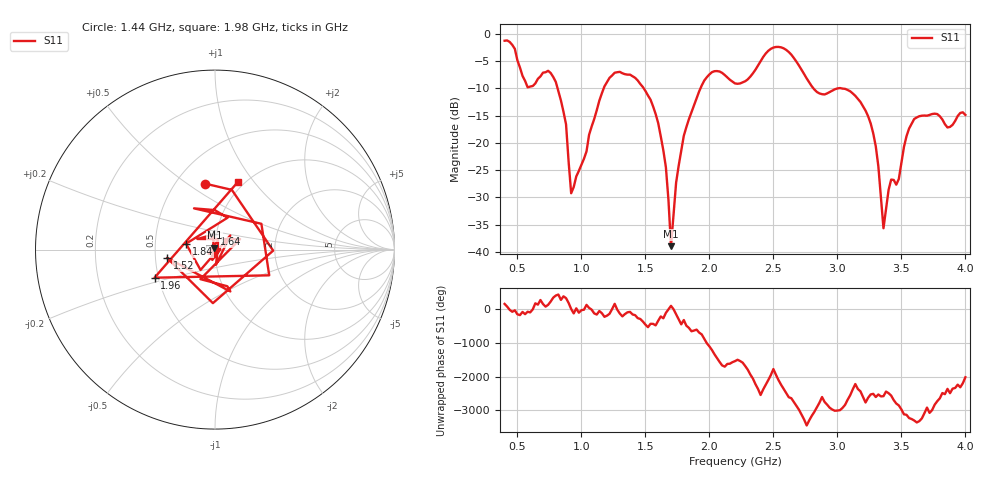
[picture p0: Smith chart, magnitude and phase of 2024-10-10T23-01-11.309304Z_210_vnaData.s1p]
! Created with skrf (http://scikit-rf.org).
# Hz S RI R 50.0
!freq ReS11 ImS11
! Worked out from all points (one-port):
!   181 points, 400 MHz to 4 GHz, reference 50 ohm
!   lowest |S11| = -38.9 dB at 1.7 GHz (marker M1), VSWR 1.02, Z = 49.7 + j1.09 ohm
!   |S11| at or under -10 dB: 813.2 MHz to 1.175 GHz (361.5 MHz wide, 36.4 % of centre); 1.486 GHz to 1.931 GHz (444.8 MHz wide, 26 % of centre); 3.025 GHz to end of sweep (the widest 3 of 4)
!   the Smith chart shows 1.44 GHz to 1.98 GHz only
!   S11 on the Smith chart (normalised r, x): 1.44 GHz: 0.69, +0.59; 1.52 GHz: 0.58, -0.06; 1.64 GHz: 0.97, +0.17; 1.84 GHz: 0.72, +0.05; 1.96 GHz: 0.48, -0.17; 1.98 GHz: 0.93, +0.84
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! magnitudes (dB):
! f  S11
! 400 MHz  -1.3
! 580 MHz  -9.8
! 760 MHz  -7.2
! 860 MHz  -14.3
! 880 MHz  -16.6
! 920 MHz  -29.2
! 1.18 GHz  -9.7
! 1.3 GHz  -7.0
! 1.44 GHz  -8.6
! 1.52 GHz  -11.3
! 1.64 GHz  -21.4
! 1.66 GHz  -24.5
! 1.7 GHz  -38.9
! 1.76 GHz  -24.2
! 1.84 GHz  -15.7
! 1.96 GHz  -8.6
! 1.98 GHz  -8.0
! 2.2 GHz  -9.1
! 2.5 GHz  -2.6
! 2.66 GHz  -4.5
! 2.84 GHz  -10.7
! 3.1 GHz  -10.6
! 3.28 GHz  -18.3
! 3.36 GHz  -35.6
! 3.42 GHz  -26.7
! 3.48 GHz  -26.6
! 3.56 GHz  -17.4
! 4 GHz  -14.9
